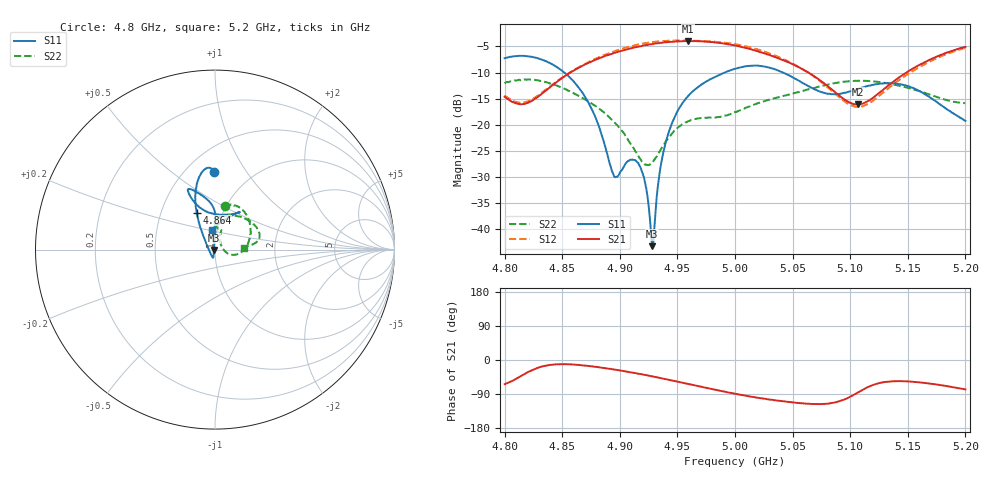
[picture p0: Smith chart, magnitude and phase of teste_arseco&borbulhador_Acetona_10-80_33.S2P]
! Network Analyzer HP8722D
! Hewlett-Packard
! Data name: Linha & Wilkinson
! Saver's name: Rodrigo Anjos
! Comments: Teste da utilização de aquisição
! continua pelo VNA HP8722D
! Time and date: 25/4/2025 15:32
!  Frequency  S11  S21  S12  S22
# HZ  S  MA R 50
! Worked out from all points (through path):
!   401 points, 4.8 GHz to 5.2 GHz, reference 50 ohm
!   highest |S21| = -3.96 dB at 4.959 GHz (marker M1); lowest = -16.1 dB at 5.107 GHz (marker M2)
!   lowest |S11| = -43.2 dB at 4.928 GHz (marker M3), VSWR 1.01, Z = 49.4 - j0.217 ohm
!   |S11| at or under -10 dB: 4.852 GHz to 4.991 GHz (139.3 MHz wide, 2.83 % of centre); 5.042 GHz to end of sweep
!   |S22| runs from -27.7 to -11.3 dB; largest |S21 - S12| = 1.2
!   S11 on the Smith chart (normalised r, x): 4.8 GHz: 0.68, +0.73; 4.864 GHz: 0.75, +0.33; 5.2 GHz: 0.94, +0.20
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4.8e9  0.4337 90.5  0.1856 -63.8  0.1908 69.8  0.2493 77.2
4.82e9  0.4522 96.7  0.162 -32.2  0.1673 98.5  0.2724 61.9
4.843e9  0.3705 106.1  0.2462 -11.9  0.2499 118.8  0.2421 36.7
4.864e9  0.23 116.4  0.3508 -13.0  0.3531 121.0  0.1896 11.9
4.867e9  0.2071 118.1  0.3649 -13.8  0.3684 120.6  0.1825 8.5
4.88e9  0.1096 128.4  0.4245 -18.4  0.4337 118.2  0.1487 -5.4
4.895e9  0.03212 -171.0  0.487 -25.0  0.5034 113.7  0.1065 -15.9
4.909e9  0.04632 -106.1  0.5383 -32.0  0.5622 107.5  0.06663 -14.7
4.917e9  0.0408 -102.0  0.5639 -36.7  0.5894 103.3  0.04822 -1.7
4.922e9  0.02771 -104.7  0.5781 -39.3  0.6037 100.5  0.04152 16.1
4.928e9  0.006889 -161.4  0.5915 -43.1  0.6182 96.9  0.04318 42.4
4.93e9  0.01032 127.8  0.5983 -44.5  0.6208 95.6  0.04634 48.4
4.934e9  0.03114 98.7  0.6048 -46.9  0.6281 93.2  0.05437 58.5
4.943e9  0.08848 90.4  0.6199 -52.6  0.6385 87.4  0.07653 68.9
4.959e9  0.1869 89.3  0.6339 -63.0  0.6408 77.1  0.1081 71.6
5e9  0.3439 108.9  0.5739 -89.2  0.592 50.6  0.1323 88.2
5.03e9  0.3521 115.0  0.4648 -104.5  0.4806 33.6  0.174 85.3
5.067e9  0.2247 104.8  0.3018 -116.1  0.2978 23.5  0.2228 57.0
5.107e9  0.2218 63.5  0.1566 -85.1  0.1483 58.0  0.264 24.1
5.134e9  0.2504 56.8  0.2417 -56.7  0.2276 88.6  0.2482 12.4
5.17e9  0.1809 70.0  0.4242 -62.5  0.4078 84.4  0.1929 6.8
5.2e9  0.1091 100.2  0.5561 -77.6  0.5459 70.1  0.1609 3.8
